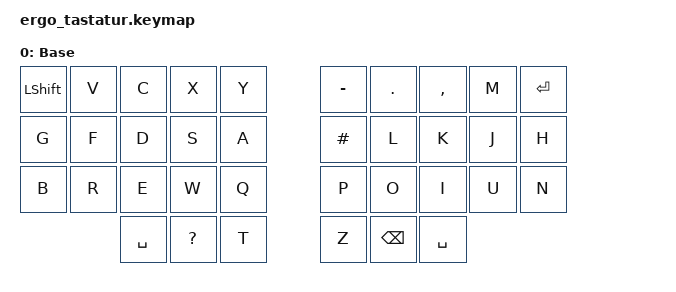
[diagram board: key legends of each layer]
#include <behaviors.dtsi>
#include <dt-bindings/zmk/keys.h>

/ {
    keymap {
        compatible = "zmk,keymap";

        default_layer {
            display-name = "Base";
            bindings = <
&kp LEFT_SHIFT  &kp V  &kp C      &kp X         &kp Y  &kp MINUS  &kp DOT        &kp COMMA  &kp M  &kp ENTER
&kp G           &kp F  &kp D      &kp S         &kp A  &kp POUND  &kp L          &kp K      &kp J  &kp H
&kp B           &kp R  &kp E      &kp W         &kp Q  &kp P      &kp O          &kp I      &kp U  &kp N
                       &kp SPACE  &kp QUESTION  &kp T  &kp Z      &kp BACKSPACE  &kp SPACE
            >;
        };
    };
};
